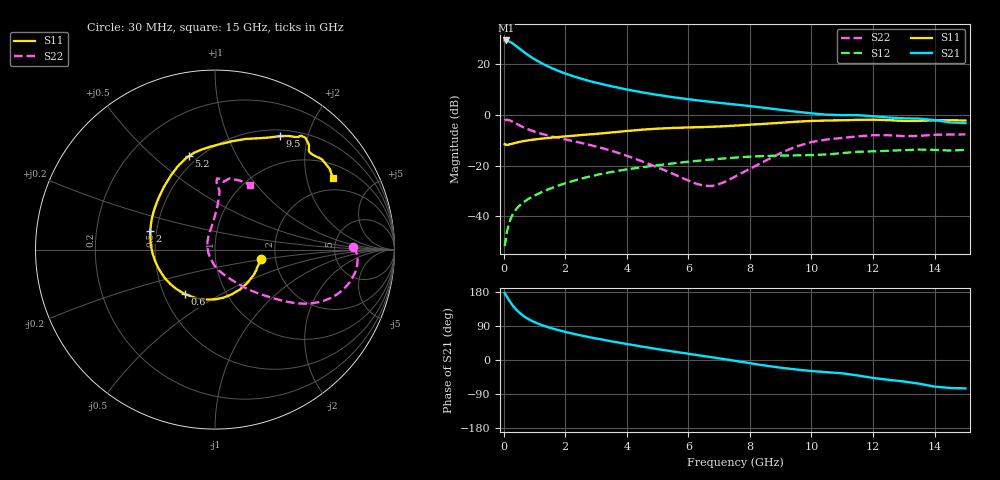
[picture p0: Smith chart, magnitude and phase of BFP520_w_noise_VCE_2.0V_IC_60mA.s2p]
! Infineon Technologies  Discrete & RF Semiconductors
! BFP520
! VCE =  2.0 V,  IC =  60 mA
! Common Emitter S-Parameters:  Oct 2015
# GHz  S  MA  R  50
!  f  S11  S21  S12  S22
! GHz  MAG  ANG  MAG  ANG  MAG  ANG  MAG  ANG
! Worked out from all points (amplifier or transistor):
!   109 points, 30 MHz to 15 GHz, reference 50 ohm
!   highest |S21| = 29.2 dB at 70 MHz (marker M1)
!   |S21| within 3 dB of that: start of sweep to 489.6 MHz
!   unconditionally stable (mu >= 1): start of sweep to 139 MHz; 770.3 MHz to end of sweep
!   at 450 MHz: K = 0.83, MSG = 31.6 dB, |S12| = -36.5 dB
!   at 4 GHz: K = 1.49, MAG = 11.6 dB, |S12| = -21.5 dB
!   at 15 GHz: K = 1.54, MAG = 0.9 dB, |S12| = -13.8 dB
!   lowest NFmin = 3.65 dB at 450 MHz
!   S11 on the Smith chart (normalised r, x): 30 MHz: 1.68, -0.19; 600 MHz: 0.64, -0.35; 2 GHz: 0.46, +0.11; 5.2 GHz: 0.45, +0.66; 9.5 GHz: 0.58, +1.57; 15 GHz: 1.47, +2.87
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0.03  0.2633 -11.7  28.86 177.3  0.0026 108.6  0.7718 1.2
0.07  0.2546 -23.8  28.97 171.7  0.0037 89.1  0.7935 -2.7
0.14  0.2573 -42.6  28.38 162.3  0.0062 80.2  0.7919 -9.0
0.2  0.2623 -58.2  27.34 154.6  0.0081 76.5  0.7725 -13.6
0.3  0.2715 -79.8  25.09 143.2  0.0111 71.7  0.726 -20.0
0.35  0.2771 -89.5  23.86 138.2  0.0125 69.9  0.7 -22.6
0.45  0.2864 -105.6  21.42 129.5  0.0149 67.3  0.65 -26.7
0.6  0.2998 -124.4  18.22 118.9  0.0181 65.0  0.5835 -31.1
0.7  0.3071 -134.4  16.42 113.1  0.0201 64.2  0.547 -33.2
0.8  0.3144 -142.7  14.87 108.2  0.022 63.6  0.5162 -34.8
1.1  0.332 -162.0  11.45 96.5  0.0275 62.9  0.4458 -38.5
1.5  0.3524 179.9  8.607 85.1  0.0351 62.0  0.3834 -42.3
2  0.3758 163.6  6.497 74.2  0.0449 60.0  0.3271 -46.6
2.6  0.403 147.8  4.964 63.3  0.057 56.3  0.2723 -51.6
3.5  0.4494 129.6  3.633 49.2  0.0749 49.2  0.1959 -60.7
5.1  0.5369 106.7  2.412 27.5  0.1034 35.8  0.087 -92.5
5.2  0.5403 105.6  2.362 26.3  0.1051 35.0  0.0823 -94.6
7.6  0.616 79.8  1.574 -3.2  0.1447 13.2  0.0646 129.5
9.5  0.7298 60.1  1.152 -25.0  0.1588 -4.4  0.2374 87.0
10.5  0.7716 54.4  1.003 -32.2  0.1659 -9.3  0.3266 85.5
13  0.7562 46.2  0.851 -56.6  0.2014 -31.0  0.3799 82.7
15  0.768 31.4  0.687 -74.9  0.2038 -47.6  0.4107 61.9
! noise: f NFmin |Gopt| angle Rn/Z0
0.45  3.65  0.26  -160  0.32
0.9  3.65  0.28  -151  0.34
1.9  3.9  0.37  -130  0.47
2.4  3.98  0.38  -127  0.44
3.5  4.15  0.37  -112  0.61
